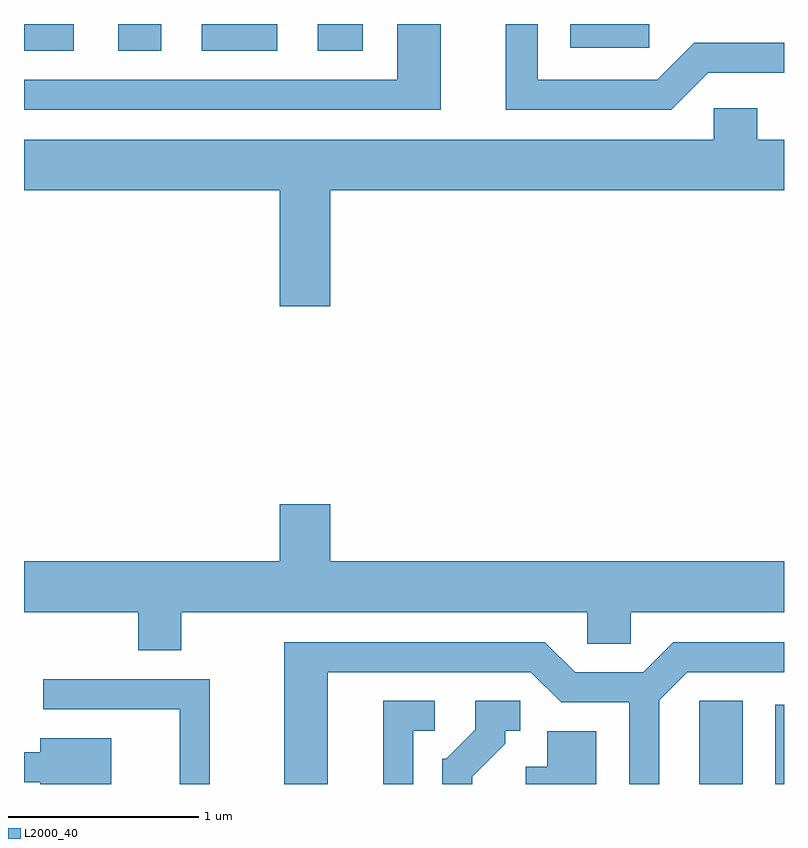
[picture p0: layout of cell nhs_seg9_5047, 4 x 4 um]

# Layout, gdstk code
import gdstk
lib = gdstk.Library(unit=1e-6, precision=1e-09)
def R(c, l, rs):  # rectangles x0, y0, x1, y1
    for r in rs: c.add(gdstk.rectangle(r[:2], r[2:], *l))
def P(c, l, *ps):  # polygons
    for p in ps: c.add(gdstk.Polygon(p, *l))
L2000_40 = (2000, 40)

nhs_seg9_5047 = lib.new_cell('nhs_seg9_5047')
R(nhs_seg9_5047, L2000_40, [(337.166,2026.432,337.394,2026.869), (337.566,2026.432,337.611,2026.849), (333.611,2030.291,333.874,2030.432), (334.106,2030.291,334.334,2030.432), (334.546,2030.291,334.943,2030.432), (335.156,2030.291,335.393,2030.432), (336.486,2030.306,336.903,2030.432)])
P(nhs_seg9_5047, L2000_40, [(337.212,2030.176),(337.611,2030.176),(337.611,2030.334),(337.139,2030.334),(336.944,2030.139),(336.314,2030.139),(336.314,2030.432),(336.146,2030.432),(336.146,2029.981),(337.017,2029.981)],
  [(335.804,2030.432),(335.576,2030.432),(335.576,2030.139),(333.611,2030.139),(333.611,2029.981),(335.804,2029.981)],
  [(335.224,2029.556),(337.611,2029.556),(337.611,2029.824),(337.469,2029.824),(337.469,2029.989),(337.241,2029.989),(337.241,2029.824),(333.611,2029.824),(333.611,2029.556),(334.956,2029.556),(334.956,2028.946),(335.224,2028.946)],
  [(334.439,2027.336),(336.576,2027.336),(336.576,2027.171),(336.804,2027.171),(336.804,2027.336),(337.611,2027.336),(337.611,2027.604),(335.224,2027.604),(335.224,2027.904),(334.956,2027.904),(334.956,2027.604),(333.611,2027.604),(333.611,2027.336),(334.211,2027.336),(334.211,2027.136),(334.439,2027.136)],
  [(335.209,2027.021),(336.279,2027.021),(336.439,2026.861),(336.796,2026.861),(336.796,2026.432),(336.954,2026.432),(336.954,2026.874),(337.102,2027.021),(337.611,2027.021),(337.611,2027.179),(337.029,2027.179),(336.869,2027.019),(336.512,2027.019),(336.352,2027.179),(334.981,2027.179),(334.981,2026.432),(335.209,2026.432)],
  [(334.589,2026.984),(333.713,2026.984),(333.713,2026.826),(334.431,2026.826),(334.431,2026.432),(334.589,2026.432)],
  [(335.659,2026.711),(335.773,2026.711),(335.773,2026.869),(335.501,2026.869),(335.501,2026.432),(335.659,2026.432)],
  [(335.969,2026.469),(336.144,2026.644),(336.144,2026.711),(336.223,2026.711),(336.223,2026.869),(335.986,2026.869),(335.986,2026.717),(335.834,2026.564),(335.811,2026.564),(335.811,2026.432),(335.969,2026.432)],
  [(336.624,2026.709),(336.366,2026.709),(336.366,2026.524),(336.251,2026.524),(336.251,2026.432),(336.624,2026.432)],
  [(334.069,2026.674),(333.696,2026.674),(333.696,2026.599),(333.611,2026.599),(333.611,2026.441),(333.696,2026.441),(333.696,2026.432),(334.069,2026.432)])

lib.write_gds('nhs_seg9_5047.gds')
